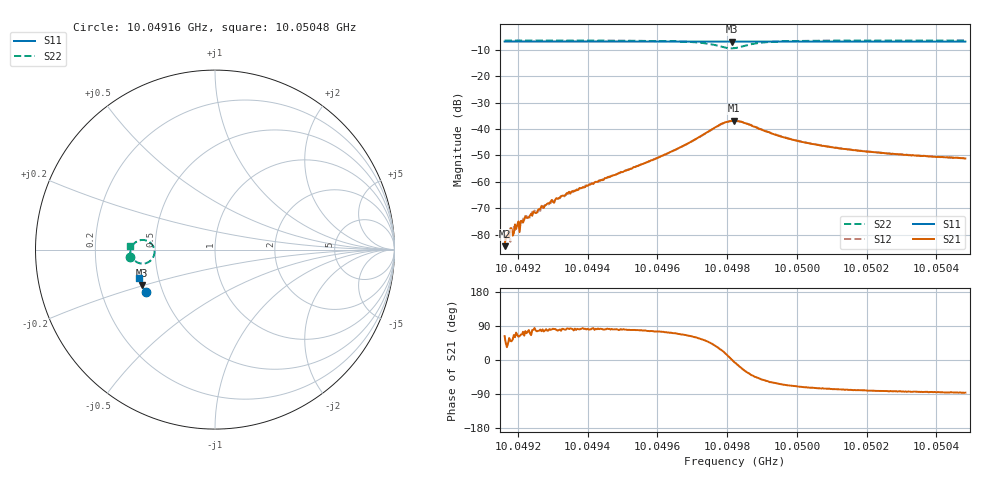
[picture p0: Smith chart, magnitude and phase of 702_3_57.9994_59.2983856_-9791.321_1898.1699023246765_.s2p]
#  HZ  S  RI  R  50.00
! Rohde & Schwarz Vector Network Analyzer
! Rohde-Schwarz,ZNB20-2Port,1311601062101988,3.16
! Created: UTC 3/21/2024, 1:21:49 AM
! freq[Hz]  re:S11  im:S11  re:S21  im:S21  re:S12  im:S12  re:S22  im:S22
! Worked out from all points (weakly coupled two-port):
!   401 points, 10.04916 GHz to 10.05048 GHz, reference 50 ohm
!   highest |S21| = -36.84 dB at 10.04982 GHz (marker M1); lowest = -84.4 dB at 10.04916 GHz (marker M2)
!   lowest |S11| = -6.9 dB at 10.04981 GHz (marker M3), VSWR 2.65, Z = 19.8 - j9.93 ohm
!   |S11| at or under -10 dB: nowhere
!   |S22| runs from -9.4 to -6.5 dB; largest |S21 - S12| = 0.0013
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1.0049162e10  -0.387 -0.2383  2.74e-05 5.37e-05  7.03e-05 6.8e-05  -0.4735 -0.039
1.0049172e10  -0.3873 -0.2377  7.98e-05 7.8e-05  5.29e-05 6.98e-05  -0.4735 -0.0379
1.0049191e10  -0.388 -0.2367  7.75e-05 0.000135  5.44e-05 0.000108  -0.4734 -0.0362
1.0049195e10  -0.3882 -0.2365  3.9e-05 0.000122  4e-05 0.000128  -0.4735 -0.0358
1.0049211e10  -0.3886 -0.2355  6.95e-05 0.000167  3.72e-05 0.000155  -0.4737 -0.0346
1.0049214e10  -0.3887 -0.2354  4.53e-05 0.000163  7.08e-05 0.000188  -0.4736 -0.0341
1.0049244e10  -0.3896 -0.2337  4.81e-05 0.000267  5.73e-05 0.000262  -0.4736 -0.0315
1.0049257e10  -0.3902 -0.2328  6.62e-05 0.000285  6.11e-05 0.000268  -0.4735 -0.0302
1.004929e10  -0.3912 -0.231  5.7e-05 0.000383  5.83e-05 0.00039  -0.4733 -0.0272
1.0049383e10  -0.3941 -0.2255  9.45e-05 0.000762  7.5e-05 0.000749  -0.4727 -0.0176
1.0049604e10  -0.4008 -0.2124  0.000751 0.00283  0.000595 0.00288  -0.4636 0.0158
1.004969e10  -0.4032 -0.207  0.00239 0.00491  0.00208 0.00497  -0.4449 0.0391
1.0049756e10  -0.4045 -0.2029  0.00721 0.0067  0.00669 0.00707  -0.3964 0.0535
1.0049786e10  -0.4048 -0.2013  0.0116 0.00525  0.011 0.0061  -0.3574 0.0357
1.0049813e10  -0.4051 -0.2  0.0142 0.000388  0.0141 0.00162  -0.3371 -0.0102
1.0049819e10  -0.4054 -0.1998  0.0144 -0.000972  0.0143 0.000228  -0.3381 -0.0238
1.0049823e10  -0.4054 -0.1997  0.0141 -0.00182  0.0142 -0.000552  -0.3395 -0.0304
1.0049856e10  -0.4065 -0.1982  0.0107 -0.00663  0.0114 -0.0058  -0.378 -0.0732
1.0049905e10  -0.4084 -0.1955  0.00562 -0.00741  0.00623 -0.00718  -0.4305 -0.0723
1.0050044e10  -0.4124 -0.1871  0.00151 -0.00496  0.00178 -0.00494  -0.4677 -0.0329
1.0050265e10  -0.4181 -0.1734  0.000429 -0.00341  0.000639 -0.00337  -0.4744 -0.00121
1.0050483e10  -0.4231 -0.1602  0.000188 -0.00275  0.000308 -0.00279  -0.4749 0.0194
